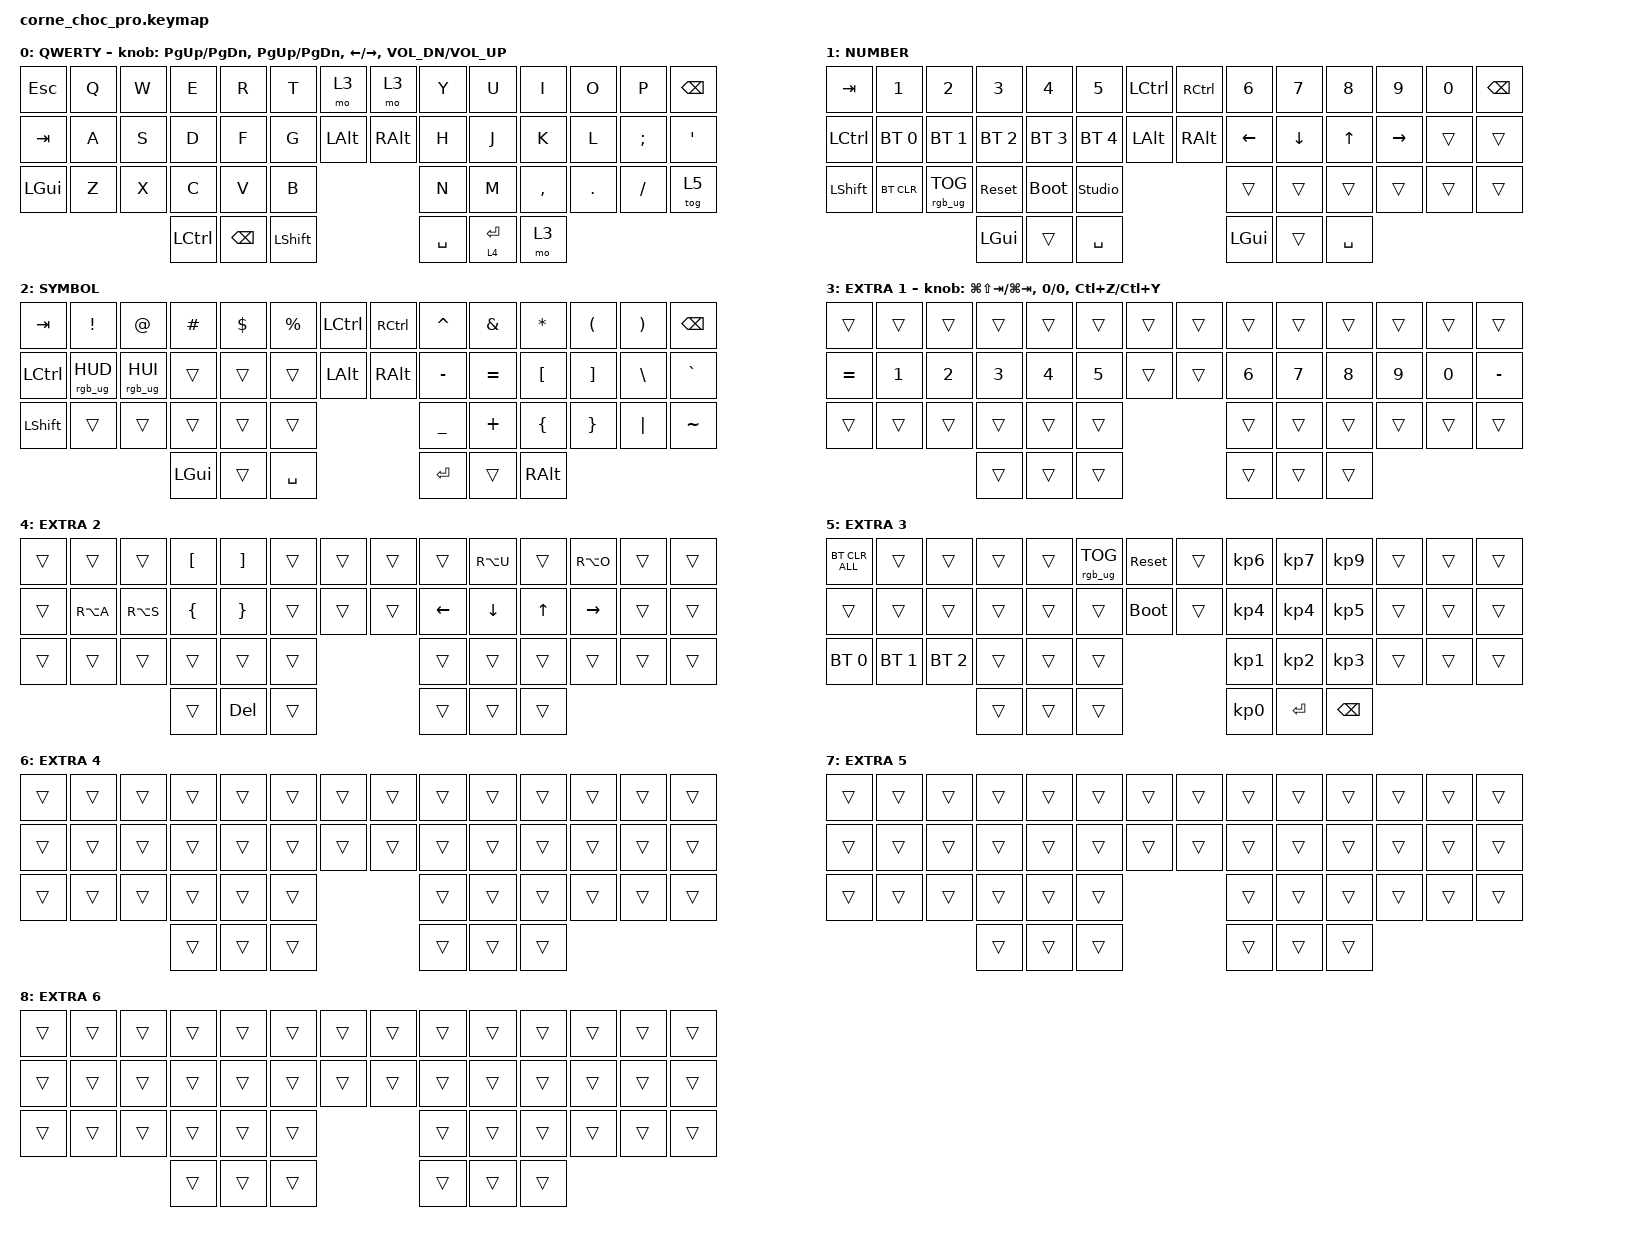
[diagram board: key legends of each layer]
/*
 * Copyright (c) 2020 The ZMK Contributors
 *
 * SPDX-License-Identifier: MIT
 */

#include <behaviors.dtsi>
#include <dt-bindings/zmk/bt.h>
#include <dt-bindings/zmk/keys.h>
#include <dt-bindings/zmk/rgb.h>

/ {
    chosen { zmk,physical-layout = &default_layout; };
};

/ {
    keymap {
        compatible = "zmk,keymap";

        default_layer {
            display-name = "QWERTY";

            // --------------------------------------------------------------------------------
            // |  TAB |  Q  |  W  |  E  |  R  |  T  |  MUTE |  PP   |  Y  |  U   |  I  |  O  |  P  | BSPC |
            // | CTRL |  A  |  S  |  D  |  F  |  G  |  LALT |  RALT |  H  |  J   |  K  |  L  |  ;  |  '   |
            // | SHFT |  Z  |  X  |  C  |  V  |  B  |               |  N  |  M   |  ,  |  .  |  /  | ESC  |
            //                    | GUI | LWR | SPC |               | ENT | RSE  | ALT |

            bindings = <
&kp ESCAPE    &kp Q  &kp W  &kp E             &kp R          &kp T           &mo 3     &mo 3     &kp Y      &kp U        &kp I      &kp O    &kp P     &kp BSPC
&kp TAB       &kp A  &kp S  &kp D             &kp F          &kp G           &kp LALT  &kp RALT  &kp H      &kp J        &kp K      &kp L    &kp SEMI  &kp SQT
&kp LEFT_GUI  &kp Z  &kp X  &kp C             &kp V          &kp B                               &kp N      &kp M        &kp COMMA  &kp DOT  &kp FSLH  &tog 5
                            &kp LEFT_CONTROL  &kp BACKSPACE  &kp LEFT_SHIFT                      &kp SPACE  &lt 4 ENTER  &mo 3
            >;

            sensor-bindings =
                <&inc_dec_kp PG_UP PAGE_DOWN>,
                <&inc_dec_kp PG_UP PG_DN>,
                <&inc_dec_kp LEFT RIGHT>,
                <&inc_dec_kp C_VOL_DN C_VOL_UP>;
        };

        lower_layer {
            display-name = "NUMBER";

            // -----------------------------------------------------------------------------------------
            // |  TAB |  1  |  2  |  3  |  4  |  5    |  LCTRL | RCTRL |  6  |  7  |  8  |  9  |  0  | BSPC |
            // | CTRL | BT1 | BT2 | BT3 | BT4 | BT5   |  LALT  | RALT  | LFT | DWN |  UP | RGT |     |      |
            // | SHFT | BTCR| RGB | RST | BOOT| Unlock|        |       |     |     |     |     |     |      |
            //                    | GUI |     | SPC   |        | ENT   |     | ALT |

            bindings = <
&kp TAB    &kp N1        &kp N2           &kp N3        &kp N4        &kp N5          &kp LCTRL  &kp RCTRL  &kp N6    &kp N7    &kp N8     &kp N9     &kp N0  &kp BSPC
&kp LCTRL  &bt BT_SEL 0  &bt BT_SEL 1     &bt BT_SEL 2  &bt BT_SEL 3  &bt BT_SEL 4    &kp LALT   &kp RALT   &kp LEFT  &kp DOWN  &kp UP     &kp RIGHT  &trans  &trans
&kp LSHFT  &bt BT_CLR    &rgb_ug RGB_TOG  &sys_reset    &bootloader   &studio_unlock                        &trans    &trans    &trans     &trans     &trans  &trans
                                          &kp LGUI      &trans        &kp SPACE                             &kp LGUI  &trans    &kp SPACE
            >;
        };

        raise_layer {
            display-name = "SYMBOL";

            // -----------------------------------------------------------------------------------------
            // |  TAB |  !  |  @  |  #  |  $  |  %  | LCTRL | RCTRL |  ^  |  &  |  *  |  (  |  )  | BSPC |
            // | CTRL | HUD | HUI |     |     |     |  LALT | RALT  |  -  |  =  |  [  |  ]  |  \  |  `   |
            // | SHFT |     |     |     |     |     |               |  _  |  +  |  {  |  }  | "|" |  ~   |
            //                    | GUI |     | SPC |               | ENT |     | ALT |

            bindings = <
&kp TAB    &kp EXCL         &kp AT           &kp HASH  &kp DLLR  &kp PRCNT  &kp LCTRL  &kp RCTRL  &kp CARET  &kp AMPS   &kp ASTRK  &kp LPAR  &kp RPAR  &kp BSPC
&kp LCTRL  &rgb_ug RGB_HUD  &rgb_ug RGB_HUI  &trans    &trans    &trans     &kp LALT   &kp RALT   &kp MINUS  &kp EQUAL  &kp LBKT   &kp RBKT  &kp BSLH  &kp GRAVE
&kp LSHFT  &trans           &trans           &trans    &trans    &trans                           &kp UNDER  &kp PLUS   &kp LBRC   &kp RBRC  &kp PIPE  &kp TILDE
                                             &kp LGUI  &trans    &kp SPACE                        &kp RET    &trans     &kp RALT
            >;
        };

        homerow_num {
            display-name = "EXTRA 1";
            bindings = <
&trans     &trans        &trans        &trans        &trans        &trans  &trans  &trans  &trans        &trans  &trans  &trans  &trans  &trans
&kp EQUAL  &kp NUMBER_1  &kp NUMBER_2  &kp NUMBER_3  &kp NUMBER_4  &kp N5  &trans  &trans  &kp NUMBER_6  &kp N7  &kp N8  &kp N9  &kp N0  &kp MINUS
&trans     &trans        &trans        &trans        &trans        &trans                  &trans        &trans  &trans  &trans  &trans  &trans
                                       &trans        &trans        &trans                  &trans        &trans  &trans
            >;

            sensor-bindings =
                <&inc_dec_kp LG(LS(TAB)) LG(TAB)>,
                <&inc_dec_kp 0 0>,
                <&inc_dec_kp LC(Z) LC(Y)>;
        };

        ger {
            display-name = "EXTRA 2";
            bindings = <
&trans  &trans     &trans     &kp LEFT_BRACKET  &kp RIGHT_BRACKET  &trans  &trans  &trans  &trans          &kp RA(U)  &trans        &kp RA(O)  &trans  &trans
&trans  &kp RA(A)  &kp RA(S)  &kp LEFT_BRACE    &kp RIGHT_BRACE    &trans  &trans  &trans  &kp LEFT_ARROW  &kp DOWN   &kp UP_ARROW  &kp RIGHT  &trans  &trans
&trans  &trans     &trans     &trans            &trans             &trans                  &trans          &trans     &trans        &trans     &trans  &trans
                              &trans            &kp DELETE         &trans                  &trans          &trans     &trans
            >;
        };

        numpad {
            display-name = "EXTRA 3";
            bindings = <
&bt BT_CLR_ALL  &trans        &trans        &trans  &trans  &rgb_ug RGB_TOG  &sys_reset   &trans  &kp KP_N6        &kp KP_N7  &kp KP_N9        &trans  &trans  &trans
&trans          &trans        &trans        &trans  &trans  &trans           &bootloader  &trans  &kp KP_N4        &kp KP_N4  &kp KP_NUMBER_5  &trans  &trans  &trans
&bt BT_SEL 0    &bt BT_SEL 1  &bt BT_SEL 2  &trans  &trans  &trans                                &kp KP_NUMBER_1  &kp KP_N2  &kp KP_N3        &trans  &trans  &trans
                                            &trans  &trans  &trans                                &kp KP_N0        &kp ENTER  &kp BACKSPACE
            >;
        };

        extra_layer_4 {
            display-name = "EXTRA 4";
            bindings = <
&trans  &trans  &trans  &trans  &trans  &trans  &trans  &trans  &trans  &trans  &trans  &trans  &trans  &trans
&trans  &trans  &trans  &trans  &trans  &trans  &trans  &trans  &trans  &trans  &trans  &trans  &trans  &trans
&trans  &trans  &trans  &trans  &trans  &trans                  &trans  &trans  &trans  &trans  &trans  &trans
                        &trans  &trans  &trans                  &trans  &trans  &trans
            >;
        };

        extra_layer_5 {
            display-name = "EXTRA 5";
            bindings = <
&trans  &trans  &trans  &trans  &trans  &trans  &trans  &trans  &trans  &trans  &trans  &trans  &trans  &trans
&trans  &trans  &trans  &trans  &trans  &trans  &trans  &trans  &trans  &trans  &trans  &trans  &trans  &trans
&trans  &trans  &trans  &trans  &trans  &trans                  &trans  &trans  &trans  &trans  &trans  &trans
                        &trans  &trans  &trans                  &trans  &trans  &trans
            >;
        };

        extra_layer_6 {
            display-name = "EXTRA 6";
            bindings = <
&trans  &trans  &trans  &trans  &trans  &trans  &trans  &trans  &trans  &trans  &trans  &trans  &trans  &trans
&trans  &trans  &trans  &trans  &trans  &trans  &trans  &trans  &trans  &trans  &trans  &trans  &trans  &trans
&trans  &trans  &trans  &trans  &trans  &trans                  &trans  &trans  &trans  &trans  &trans  &trans
                        &trans  &trans  &trans                  &trans  &trans  &trans
            >;
        };
    };
};
